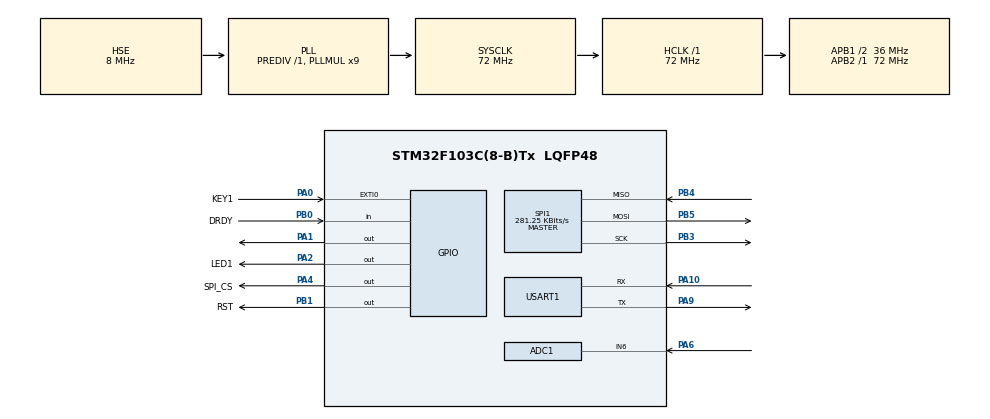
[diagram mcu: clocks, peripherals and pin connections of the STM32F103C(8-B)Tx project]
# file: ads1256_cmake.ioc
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ADC1.Channel-8\#ChannelRegularConversion=ADC_CHANNEL_6
ADC1.NbrOfConversionFlag=1
ADC1.Rank-8\#ChannelRegularConversion=1
ADC1.SamplingTime-8\#ChannelRegularConversion=ADC_SAMPLETIME_1CYCLE_5
ADC1.master=1
Mcu.Family=STM32F1
Mcu.Name=STM32F103C(8-B)Tx
Mcu.Package=LQFP48
NVIC.PriorityGroup=NVIC_PRIORITYGROUP_4
PA0-WKUP.GPIO_Label=KEY1
PA0-WKUP.Signal=GPXTI0
PA1.Signal=GPIO_Output
PA10.Mode=Asynchronous
PA10.Signal=USART1_RX
PA13.Mode=Serial_Wire
PA13.Signal=SYS_JTMS-SWDIO
PA14.Mode=Serial_Wire
PA14.Signal=SYS_JTCK-SWCLK
PA2.GPIO_Label=LED1
PA2.Signal=GPIO_Output
PA4.GPIO_Label=SPI_CS
PA4.Signal=GPIO_Output
PA6.Signal=ADCx_IN6
PA9.Mode=Asynchronous
PA9.Signal=USART1_TX
PB0.GPIO_Label=DRDY
PB0.Signal=GPIO_Input
PB1.GPIO_Label=RST
PB1.Signal=GPIO_Output
PB3.Mode=Full_Duplex_Master
PB3.Signal=SPI1_SCK
PB4.Mode=Full_Duplex_Master
PB4.Signal=SPI1_MISO
PB5.Mode=Full_Duplex_Master
PB5.Signal=SPI1_MOSI
PD0-OSC_IN.Mode=HSE-External-Oscillator
PD0-OSC_IN.Signal=RCC_OSC_IN
PD1-OSC_OUT.Mode=HSE-External-Oscillator
PD1-OSC_OUT.Signal=RCC_OSC_OUT
ProjectManager.HeapSize=0x200
ProjectManager.StackSize=0x400
ProjectManager.TargetToolchain=CMake
RCC.ADCPresc=RCC_ADCPCLK2_DIV6
RCC.AHBFreq_Value=72000000
RCC.APB1CLKDivider=RCC_HCLK_DIV2
RCC.APB1Freq_Value=36000000
RCC.APB1TimFreq_Value=72000000
RCC.APB2Freq_Value=72000000
RCC.APB2TimFreq_Value=72000000
RCC.HCLKFreq_Value=72000000
RCC.PLLMUL=RCC_PLL_MUL9
RCC.PLLSourceVirtual=RCC_PLLSOURCE_HSE
RCC.SYSCLKFreq_VALUE=72000000
RCC.SYSCLKSource=RCC_SYSCLKSOURCE_PLLCLK
RCC.USBFreq_Value=72000000
SH.ADCx_IN6.0=ADC1_IN6,IN6
SPI1.BaudRatePrescaler=SPI_BAUDRATEPRESCALER_256
SPI1.CalculateBaudRate=281.25 KBits/s
SPI1.Direction=SPI_DIRECTION_2LINES
SPI1.Mode=SPI_MODE_MASTER
SPI1.VirtualType=VM_MASTER
USART1.VirtualMode=VM_ASYNC
board=custom

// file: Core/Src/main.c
/* USER CODE BEGIN Header */
/**
 ******************************************************************************
 * @file           : main.c
 * @brief          : Main program body
 ******************************************************************************
 * @attention
 *
 * Copyright (c) 2025 STMicroelectronics.
 * All rights reserved.
 *
 * This software is licensed under terms that can be found in the LICENSE file
 * in the root directory of this software component.
 * If no LICENSE file comes with this software, it is provided AS-IS.
 *
 ******************************************************************************
 */
/* USER CODE END Header */
#include "main.h"
#include "adc.h"
#include "spi.h"
#include "usart.h"
#include "gpio.h"

/* USER CODE BEGIN Includes */
#include <stdio.h>
#include "ads1256.h"

/* USER CODE END Includes */

void SystemClock_Config(void);

int main(void)
{

    /* MCU Configuration--------------------------------------------------------*/

    /* Reset of all peripherals, Initializes the Flash interface and the Systick. */
    HAL_Init();

    /* Configure the system clock */
    SystemClock_Config();

    /* Initialize all configured peripherals */
    MX_GPIO_Init();
    MX_USART1_UART_Init();
    MX_ADC1_Init();
    MX_SPI1_Init();
    /* USER CODE BEGIN 2 */
    float a = 10.1;

    // printf("[OK] start ads1256\n");
    // ADS1256_Init(ADS1256_GAIN_1, ADS1256_DRATE_100SPS, 3);
    // ADS1256_Init_test(ADS1256_GAIN_1, ADS1256_DRATE_2_5SPS, 3);
    // HAL_Delay(1000);
    HAL_ADCEx_Calibration_Start(&hadc1);
    int ADC_Value;

    /* USER CODE END 2 */

    /* Infinite loop */
    while (1)
    {

        /* USER CODE BEGIN 3 */
        HAL_ADC_Start(&hadc1);                 // 启动ADC转换
        HAL_ADC_PollForConversion(&hadc1, 50); // 等待转换完成，50为最大等待时间，单位为ms

        if (HAL_IS_BIT_SET(HAL_ADC_GetState(&hadc1), HAL_ADC_STATE_REG_EOC))
        {
            ADC_Value = HAL_ADC_GetValue(&hadc1); // 获取AD值

            printf("ADC1 Reading : %d \r\n", ADC_Value);
            printf("PA3 True Voltage value : %.4f \r\n", ADC_Value * 3.3f / 4096);
            printf("Z小旋测试\r\n");
        }
        HAL_Delay(1000);

        // printf("hello ads\n");
        //
        // Data_Print();
        // // Transmit_To_Python();
        // HAL_Delay(200);
    }
    /* USER CODE END 3 */
}

void SystemClock_Config(void)
{
    RCC_OscInitTypeDef RCC_OscInitStruct = {0};
    RCC_ClkInitTypeDef RCC_ClkInitStruct = {0};
    RCC_PeriphCLKInitTypeDef PeriphClkInit = {0};

    /** Initializes the RCC Oscillators according to the specified parameters
     * in the RCC_OscInitTypeDef structure.
     */
    RCC_OscInitStruct.OscillatorType = RCC_OSCILLATORTYPE_HSE;
    RCC_OscInitStruct.HSEState = RCC_HSE_ON;
    RCC_OscInitStruct.HSEPredivValue = RCC_HSE_PREDIV_DIV1;
    RCC_OscInitStruct.HSIState = RCC_HSI_ON;
    RCC_OscInitStruct.PLL.PLLState = RCC_PLL_ON;
    RCC_OscInitStruct.PLL.PLLSource = RCC_PLLSOURCE_HSE;
    RCC_OscInitStruct.PLL.PLLMUL = RCC_PLL_MUL9;
    if (HAL_RCC_OscConfig(&RCC_OscInitStruct) != HAL_OK)
    {
        Error_Handler();
    }

    /** Initializes the CPU, AHB and APB buses clocks
     */
    RCC_ClkInitStruct.ClockType = RCC_CLOCKTYPE_HCLK | RCC_CLOCKTYPE_SYSCLK | RCC_CLOCKTYPE_PCLK1 | RCC_CLOCKTYPE_PCLK2;
    RCC_ClkInitStruct.SYSCLKSource = RCC_SYSCLKSOURCE_PLLCLK;
    RCC_ClkInitStruct.AHBCLKDivider = RCC_SYSCLK_DIV1;
    RCC_ClkInitStruct.APB1CLKDivider = RCC_HCLK_DIV2;
    RCC_ClkInitStruct.APB2CLKDivider = RCC_HCLK_DIV1;

    if (HAL_RCC_ClockConfig(&RCC_ClkInitStruct, FLASH_LATENCY_2) != HAL_OK)
    {
        Error_Handler();
    }
    PeriphClkInit.PeriphClockSelection = RCC_PERIPHCLK_ADC;
    PeriphClkInit.AdcClockSelection = RCC_ADCPCLK2_DIV6;
    if (HAL_RCCEx_PeriphCLKConfig(&PeriphClkInit) != HAL_OK)
    {
        Error_Handler();
    }
}

void Error_Handler(void)
{
    __disable_irq();
    while (1)
    {
    }
}
#ifdef USE_FULL_ASSERT
/**
 * @brief  Reports the name of the source file and the source line number
 *         where the assert_param error has occurred.
 * @param  file: pointer to the source file name
 * @param  line: assert_param error line source number
 * @retval None
 */
void assert_failed(uint8_t *file, uint32_t line)
{
    /* USER CODE BEGIN 6 */
    /* User can add his own implementation to report the file name and line
       number, ex: printf("Wrong parameters value: file %s on line %d\r\n", file,
       line) */
    /* USER CODE END 6 */
}
#endif /* USE_FULL_ASSERT */
